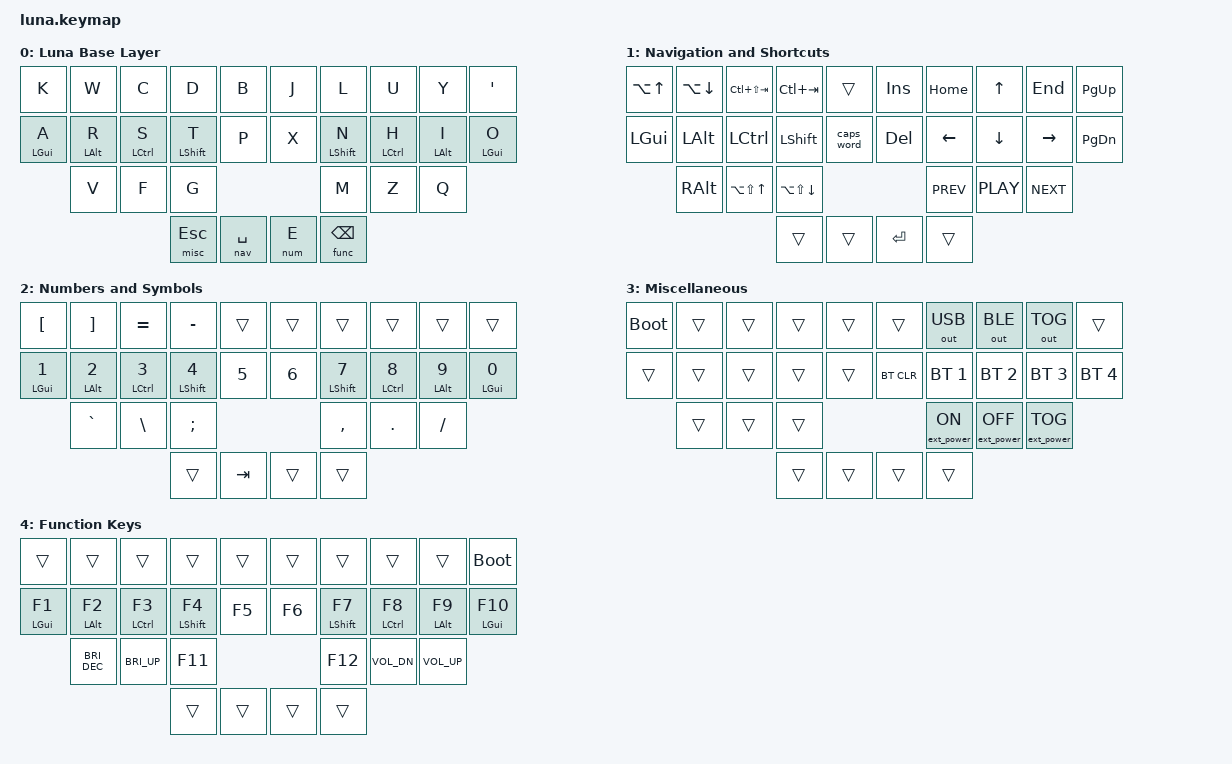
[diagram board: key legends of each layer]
/*
 * Copyright (c) 2020 The ZMK Contributors
 *
 * SPDX-License-Identifier: MIT
 */

#include <behaviors.dtsi>
#include <dt-bindings/zmk/keys.h>
#include <dt-bindings/zmk/bt.h>
#include <dt-bindings/zmk/ext_power.h>
#include <dt-bindings/zmk/outputs.h>

#define base 0
#define nav  1
#define num  2
#define misc 3
#define func 4

&caps_word {
    continue-list = <UNDERSCORE MINUS>;
};

&sk {
  quick-release;
};

&lt {
    tapping-term-ms = <250>;
    quick_tap_ms = <250>;
    flavor = "tap-preferred";
};

/ {
    #include "combos.dtsi"

    behaviors {
        hm: homerow_mod {
            compatible = "zmk,behavior-hold-tap";
            label = "HOMEROW_MODS";
            #binding-cells = <2>;
            tapping-term-ms = <250>;
            quick_tap_ms = <250>;
            flavor = "tap-preferred";
            bindings = <&kp>, <&kp>;
        };
    };

    keymap {
        compatible = "zmk,keymap";

        base_layer {
            label = "Luna Base Layer";
            bindings = <
                &kp K      &kp W      &kp C      &kp D        &kp B           &kp J        &kp L       &kp U      &kp Y      &kp SQT
                &hm LGUI A &hm LALT R &hm LCTL S &hm LSHFT T  &kp P           &kp X        &hm LSHFT N &hm LCTL H &hm LALT I &hm LGUI O
                           &kp V      &kp F      &kp G                                     &kp M       &kp Z      &kp Q
                                                 &lt misc ESC &lt nav SPACE   &lt num E &lt func BSPC
            >;
        };

        nav_layer {
            label = "Navigation and Shortcuts";
            bindings = <
               &kp LA(UP) &kp LA(DOWN) &kp LC(LS(TAB)) &kp LC(TAB)      &trans         &kp INS &kp HOME   &kp UP     &kp END      &kp PG_UP
               &kp LGUI   &kp LALT     &kp LCTL        &kp LSHIFT       &caps_word     &kp DEL &kp LEFT   &kp DOWN   &kp RIGHT    &kp PG_DN
                          &kp RALT     &kp LA(LS(UP))  &kp LA(LS(DOWN))                        &kp C_PREV &kp C_PLAY &kp C_NEXT
                                                       &trans           &trans         &kp RET &trans
            >;
        };

        num_layer {
            label = "Numbers and Symbols";
            bindings = <
               &kp LBKT    &kp RBKT    &kp EQUAL   &kp MINUS    &trans         &trans    &trans       &trans      &trans      &trans
               &hm LGUI N1 &hm LALT N2 &hm LCTL N3 &hm LSHFT N4 &kp N5         &kp N6    &hm LSHFT N7 &hm LCTL N8 &hm LALT N9 &hm LGUI N0
                           &kp GRAVE   &kp BSLH    &kp SEMI                              &kp COMMA    &kp DOT     &kp FSLH
                                                   &trans       &kp TAB        &trans    &trans
            >;
        };

        misc_layer {
            label = "Miscellaneous";
            bindings = <
                &bootloader &trans &trans &trans &trans        &trans        &out OUT_USB     &out OUT_BLE      &out OUT_TOG      &trans
                &trans      &trans &trans &trans &trans        &bt BT_CLR    &bt BT_SEL 1     &bt BT_SEL 2      &bt BT_SEL 3      &bt BT_SEL 4
                            &trans &trans &trans                             &ext_power EP_ON &ext_power EP_OFF &ext_power EP_TOG
                                          &trans &trans        &trans        &trans
            >;
        };

       func_layer {
            label = "Function Keys";

            bindings = <
               &trans      &trans        &trans       &trans       &trans      &trans &trans       &trans       &trans      &bootloader
               &hm LGUI F1 &hm LALT F2   &hm LCTL F3  &hm LSHFT F4 &kp F5      &kp F6 &hm LSHFT F7 &hm LCTL F8  &hm LALT F9 &hm LGUI F10
                           &kp C_BRI_DEC &kp C_BRI_UP &kp F11                         &kp F12      &kp C_VOL_DN &kp C_VOL_UP
                                                      &trans       &trans      &trans &trans
            >;
        };
    };
};
